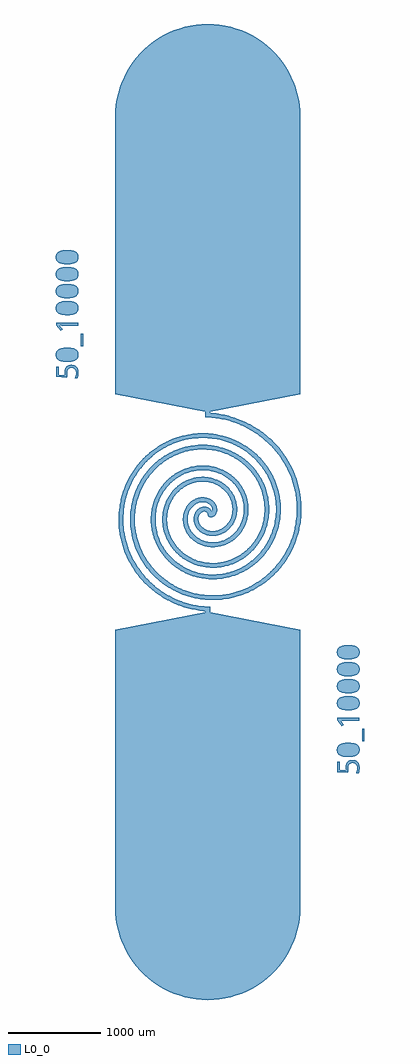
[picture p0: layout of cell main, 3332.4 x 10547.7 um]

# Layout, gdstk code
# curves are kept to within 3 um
import gdstk
lib = gdstk.Library(unit=1e-6, precision=1e-09)
def R(c, l, rs):  # rectangles x0, y0, x1, y1
    for r in rs: c.add(gdstk.rectangle(r[:2], r[2:], *l))
def P(c, l, *ps):  # polygons
    for p in ps: c.add(gdstk.Polygon(p, *l))
L0_0 = (0, 0)

main = lib.new_cell('main')
R(main, L0_0, [(2134,-6442,4134,-3438), (4801.9,-4647.7,4824.7,-4509.3), (3109,-3442,3159,-3192), (3109,-1144.3,3159,-894.3), (2134,-898.3,4134,2105.7), (1763.9,-377.8,1786.7,-239.4)])
P(main, L0_0, [(4647.8,-3729.5),(4698.9,-3726.6),(4734.4,-3714.5),(4749,-3693.4),(4749.4,-3676.8),(4744,-3662.6),(4718.1,-3645.2),(4675.7,-3638.2),(4617.5,-3639.2),(4573.1,-3651.9),(4560.5,-3664.4),(4555.9,-3679.1),(4557.8,-3697.6),(4565.8,-3710.2),(4596.4,-3724.7)],
  [(4652.7,-3607.6),(4615.1,-3609.9),(4579.9,-3618.2),(4559.4,-3628.4),(4542.1,-3644.7),(4532.3,-3665.8),(4531,-3695.7),(4538.6,-3719),(4553.9,-3736.5),(4601.1,-3755.6),(4680,-3758.5),(4729.1,-3747.8),(4763.3,-3723),(4772.2,-3705.2),(4775.1,-3679.9),(4769.9,-3654.8),(4759.1,-3638.1),(4721.4,-3615.9)],
  [(4647.8,-3913.1),(4698.9,-3910.2),(4734.4,-3898.1),(4749,-3877),(4749.4,-3860.4),(4744,-3846.2),(4718.1,-3828.8),(4675.7,-3821.8),(4617.5,-3822.8),(4573.1,-3835.5),(4560.5,-3848),(4555.9,-3862.7),(4557.8,-3881.2),(4565.8,-3893.8),(4596.4,-3908.3)],
  [(4652.7,-3791.2),(4615.1,-3793.5),(4579.9,-3801.8),(4559.4,-3812),(4542.1,-3828.3),(4532.3,-3849.4),(4531,-3879.3),(4540.3,-3905.4),(4556.6,-3922.1),(4601.1,-3939.2),(4680,-3942.1),(4729.1,-3931.4),(4763.3,-3906.6),(4772.2,-3888.9),(4775.1,-3863.5),(4769.9,-3838.4),(4759.1,-3821.7),(4721.4,-3799.5)],
  [(4647.8,-4096.7),(4705.7,-4092.6),(4736.3,-4080.3),(4749.4,-4058.3),(4744,-4029.8),(4718.1,-4012.4),(4675.7,-4005.4),(4606.4,-4007.9),(4571.1,-4020.4),(4560.5,-4031.6),(4555.9,-4046.3),(4557.8,-4064.8),(4565.8,-4077.3),(4596.4,-4091.9)],
  [(4652.7,-3974.8),(4615.1,-3977.1),(4579.9,-3985.4),(4559.4,-3995.6),(4542.1,-4011.9),(4532.3,-4033),(4531,-4062.9),(4540.3,-4089),(4556.6,-4105.7),(4601.1,-4122.8),(4680,-4125.7),(4729.1,-4115),(4763.3,-4090.1),(4772.2,-4072.4),(4775.1,-4047.1),(4769.9,-4022),(4759.1,-4005.3),(4721.4,-3983.1)],
  [(4647.8,-4280.3),(4702.4,-4276.8),(4736.3,-4263.9),(4749.4,-4241.9),(4744,-4213.4),(4720.8,-4196.9),(4675.7,-4189),(4606.4,-4191.5),(4571.1,-4204),(4560.5,-4215.2),(4555.9,-4229.9),(4557.8,-4248.4),(4565.8,-4260.9),(4593.3,-4274.7)],
  [(4652.7,-4158.4),(4583.8,-4167.6),(4559.4,-4179.2),(4542.1,-4195.5),(4532.3,-4216.6),(4531,-4246.5),(4538.6,-4269.7),(4556.6,-4289.3),(4601.1,-4306.4),(4680,-4309.3),(4729.1,-4298.6),(4751.6,-4285.8),(4765.2,-4271.1),(4773.9,-4249.3),(4774.9,-4226.7),(4769.9,-4205.6),(4756.7,-4186.4),(4721.4,-4166.7)],
  [(4772,-4394.2),(4534,-4394.2),(4534,-4418.7),(4582.7,-4481),(4602.7,-4465.4),(4564.6,-4421.6),(4772,-4422.9)],
  [(4647.8,-4784.5),(4698.9,-4781.6),(4734.4,-4769.5),(4749,-4748.4),(4749.4,-4731.8),(4744,-4717.6),(4718.1,-4700.2),(4675.7,-4693.2),(4617.5,-4694.2),(4573.1,-4706.9),(4560.5,-4719.4),(4555.9,-4734.1),(4557.8,-4752.7),(4565.8,-4765.2),(4596.4,-4779.7)],
  [(4652.7,-4662.6),(4583.8,-4671.9),(4559.4,-4683.5),(4542.1,-4699.7),(4532.3,-4720.9),(4531,-4750.7),(4538.6,-4774),(4556.6,-4793.6),(4605.7,-4811.4),(4680,-4813.5),(4732.7,-4801.3),(4763.3,-4778),(4772.2,-4760.3),(4775.1,-4734.9),(4769.9,-4709.9),(4759.1,-4693.1),(4739.6,-4678.4),(4717.3,-4669.8)],
  [(4626,-4930.1),(4629.2,-4959.5),(4561,-4953.2),(4561,-4866.6),(4534,-4866.6),(4534,-4978.9),(4646,-4987.8),(4655.2,-4973.2),(4651,-4935.6),(4657.1,-4903.7),(4674.9,-4884.7),(4701.5,-4879.6),(4732,-4889),(4747.1,-4911.2),(4748.8,-4950.7),(4734.4,-4992.9),(4762.4,-4992.9),(4767.6,-4982.2),(4775.1,-4941.6),(4770.9,-4901.4),(4754.1,-4871.1),(4729,-4854.7),(4685.7,-4849.7),(4653.5,-4862),(4632.4,-4890.1)],
  [(1605.2,540.4),(1660.9,543.3),(1696.5,555.4),(1711.1,576.5),(1711.5,593.1),(1706,607.3),(1680.2,624.7),(1637.7,631.7),(1575.8,630.2),(1535.1,618),(1523.7,607.3),(1518.2,593.1),(1519.2,574.3),(1526.4,561.3),(1558.5,545.2)],
  [(1614.7,662.3),(1545.8,653),(1521.4,641.4),(1504.2,625.2),(1493.6,600.6),(1493,574.2),(1500.6,550.9),(1515.9,533.4),(1534.7,522.5),(1563.1,514.3),(1636.8,511),(1694.8,523.6),(1725.3,546.9),(1734.3,564.6),(1737.2,590),(1731.9,615),(1718.8,634.2),(1679.3,655.1)],
  [(1609.9,356.8),(1660.9,359.7),(1696.5,371.8),(1711.1,392.9),(1711.5,409.5),(1706,423.7),(1680.2,441.1),(1637.7,448.1),(1579.6,447.1),(1535.1,434.4),(1523.7,423.7),(1517.9,407.2),(1519.2,390.7),(1527.9,376.1),(1558.5,361.6)],
  [(1614.7,478.7),(1545.8,469.4),(1521.4,457.9),(1504.2,441.6),(1493.6,417),(1493,390.6),(1500.6,367.3),(1515.9,349.8),(1563.1,330.7),(1636.8,327.4),(1694.8,340),(1725.3,363.3),(1734.3,381),(1737.2,406.4),(1731.9,431.4),(1718.8,450.6),(1683.4,470.4)],
  [(1609.9,173.2),(1660.9,176.1),(1696.5,188.2),(1711.1,209.3),(1711.5,225.9),(1706,240.1),(1680.2,257.5),(1637.7,264.5),(1579.6,263.5),(1535.1,250.8),(1523.7,240.1),(1517.9,223.6),(1519.2,207.1),(1527.9,192.5),(1558.5,178)],
  [(1614.7,295.1),(1545.8,285.8),(1521.4,274.3),(1504.2,258),(1493.6,233.4),(1493,207),(1500.6,183.7),(1515.9,166.2),(1563.1,147.1),(1636.8,143.8),(1694.8,156.4),(1725.3,179.7),(1734.3,197.4),(1737.2,222.8),(1731.9,247.9),(1718.8,267),(1683.4,286.8)],
  [(1609.9,-10.4),(1660.9,-7.5),(1696.5,4.6),(1711.1,25.7),(1711.5,42.3),(1706,56.5),(1680.2,73.9),(1637.7,80.9),(1579.6,79.9),(1535.1,67.2),(1523.7,56.5),(1517.9,40),(1519.2,23.5),(1527.9,8.9),(1558.5,-5.6)],
  [(1614.7,111.5),(1549.9,103.5),(1524.5,92.6),(1506.2,77),(1495.3,56.6),(1492.6,27.2),(1499,3.1),(1513.2,-15.2),(1531.2,-26.7),(1558.6,-35.6),(1626,-40.4),(1683.4,-31.5),(1704.9,-22),(1723.3,-6.5),(1734.3,13.9),(1737.2,39.2),(1733.2,61.1),(1721.1,81),(1683.4,103.2)],
  [(1734,-124.4),(1496,-124.4),(1496,-148.8),(1544.7,-211.1),(1564.7,-195.5),(1526.6,-151.7),(1734,-153)],
  [(1614.7,-514.7),(1667.7,-510.5),(1698.4,-498.2),(1707.2,-488.6),(1711.8,-474),(1704.7,-446),(1677.3,-429.4),(1628.9,-422.9),(1565,-426.4),(1531.2,-439.8),(1521.5,-451.4),(1517.7,-469.1),(1520.6,-484.8),(1529.5,-496.8),(1561.7,-510.5)],
  [(1614.7,-392.7),(1545.8,-402),(1521.4,-413.6),(1504.2,-429.9),(1493.6,-454.4),(1493,-480.8),(1500.6,-504.1),(1518.7,-523.7),(1563.1,-540.7),(1631.5,-544.4),(1687.3,-534.4),(1710.9,-522.3),(1725.3,-508.1),(1734.3,-490.4),(1737.2,-465),(1731.9,-440),(1718.8,-420.8),(1679.3,-399.9)],
  [(1588,-660.2),(1591.3,-689.6),(1523.1,-683.3),(1523.1,-596.7),(1496,-596.7),(1496,-709),(1608,-717.9),(1617.3,-703.3),(1613.2,-660.4),(1619.1,-633.8),(1633.8,-616.7),(1660.9,-609.7),(1692.5,-618),(1709.1,-641.3),(1711.1,-679.2),(1696.4,-723),(1724.4,-723),(1730.6,-709.6),(1737.2,-670),(1731.9,-628.3),(1716.1,-601.2),(1691,-584.8),(1647.8,-579.8),(1615.6,-592.1),(1594.5,-620.2)],
  [(3134,-3242),(3136.7,-3192.1),(3012.2,-3177.6),(2931.1,-3159.3),(2852.3,-3134.5),(2721.1,-3075.8),(2601,-2999.1),(2508.7,-2920.6),(2427.6,-2831.7),(2348.6,-2717.1),(2295.4,-2611.3),(2251,-2481.7),(2228.7,-2367.3),(2221.1,-2232.7),(2233.2,-2099.7),(2258.9,-1989.1),(2305.7,-1866.3),(2369.5,-1752.8),(2448.5,-1650.9),(2526.8,-1574.1),(2598.5,-1518.6),(2690.9,-1462.7),(2788.9,-1419.3),(2890.7,-1388.9),(2994.7,-1371.6),(3099.1,-1367.6),(3202.3,-1376.7),(3302.7,-1398.6),(3398.7,-1432.6),(3503.3,-1486.7),(3584.9,-1544.3),(3658,-1611.2),(3731.2,-1699.3),(3790,-1796.1),(3828.2,-1884.3),(3854.7,-1975.8),(3867.8,-2053.5),(3872.6,-2131.4),(3865.5,-2239.5),(3850.9,-2314.8),(3823.3,-2401.7),(3785.3,-2483.6),(3737.8,-2559.4),(3681.6,-2627.8),(3617.9,-2688),(3547.8,-2739.2),(3459.7,-2786.7),(3380.1,-2816.3),(3298.4,-2835.5),(3215.7,-2844.1),(3133.4,-2842.2),(3066.2,-2832.8),(3000.9,-2816.5),(2926.2,-2788.3),(2856.3,-2751.3),(2792.5,-2706.2),(2735.4,-2654.1),(2686,-2595.8),(2651.1,-2543.4),(2617.1,-2476.7),(2595.7,-2418.9),(2580.6,-2359.8),(2570.3,-2276),(2572.4,-2192.8),(2583.8,-2123.3),(2603.7,-2056.7),(2631.5,-1993.9),(2666.5,-1935.9),(2700.7,-1891.8),(2739,-1852),(2789.5,-1810.4),(2882.3,-1757.3),(2931.6,-1738.7),(3002.3,-1721.9),(3053.2,-1716.5),(3113.8,-1717.1),(3172.9,-1725.3),(3238.9,-1743.9),(3291.9,-1767.1),(3340.7,-1796.4),(3384.7,-1831.1),(3423.4,-1870.6),(3478.8,-1952.3),(3510.5,-2033.6),(3524,-2117.3),(3523.4,-2167.1),(3516.6,-2215.6),(3504,-2261.9),(3485.9,-2305.4),(3440.1,-2376),(3375.5,-2436.1),(3300.8,-2476.3),(3241.6,-2492.6),(3169.4,-2496.5),(3107.1,-2485.7),(3045.6,-2459.9),(2994.3,-2422.1),(2955.1,-2375.6),(2927.7,-2318.9),(2916.8,-2265.3),(2918.1,-2218.1),(2926.2,-2183),(2941.6,-2147.6),(2965.2,-2114.5),(2993.7,-2089),(3024.9,-2071.6),(3060.1,-2061.7),(3096.5,-2061.1),(3142,-2076.3),(3171.6,-2103.2),(3181.8,-2123.1),(3185.3,-2142.9),(3181.4,-2162.4),(3170.3,-2174.4),(3179.7,-2180.2),(3184,-2191.3),(3178.6,-2164.5),(3165.4,-2142.4),(3140.6,-2122.4),(3113.7,-2113.3),(3081.9,-2113.2),(3057.1,-2120.5),(3031.6,-2135.9),(3010.2,-2157.9),(2986.4,-2209.9),(2982.8,-2240.1),(2985.3,-2271.6),(3005.4,-2326.1),(3044.8,-2374.1),(3083.5,-2400.8),(3124.4,-2417.3),(3169.7,-2425.5),(3222.8,-2423.5),(3271.1,-2411.1),(3317.6,-2388.5),(3360.2,-2356),(3393,-2319.4),(3425.2,-2264.6),(3446.8,-2195.3),(3451.4,-2120),(3439.5,-2049.9),(3408.3,-1975.3),(3363.9,-1913.5),(3305.5,-1861.1),(3242.7,-1824.6),(3155.8,-1796.6),(3096.5,-1789.6),(3053.1,-1790),(2957.3,-1807.7),(2865.6,-1848.5),(2819.3,-1880.1),(2783.6,-1911.2),(2722,-1985.4),(2697,-2027.7),(2672.8,-2082.4),(2648.2,-2180.9),(2643.5,-2242.8),(2648.2,-2316.2),(2661,-2379),(2677.9,-2430.2),(2705.6,-2489.7),(2741.1,-2545.9),(2784,-2597.8),(2825,-2637.1),(2870.5,-2672.2),(2930.2,-2708),(2994.9,-2736.4),(3051.7,-2753.7),(3110.7,-2765.1),(3183.4,-2770.5),(3244.7,-2767.8),(3306.1,-2758.7),(3378.6,-2738.9),(3460.4,-2704.1),(3526.4,-2664.4),(3577.9,-2624.8),(3634.2,-2569.8),(3675.9,-2518.3),(3718.9,-2450.5),(3753.3,-2376.9),(3774.9,-2312.1),(3791.7,-2231.1),(3798.3,-2147.7),(3794.2,-2063.2),(3779.3,-1979.1),(3758.6,-1910.3),(3724.1,-1830.4),(3687.5,-1767.1),(3634.5,-1696),(3572.4,-1631.5),(3502,-1574.9),(3424.3,-1527.1),(3340.3,-1489.2),(3251.4,-1462),(3158.9,-1446),(3080.1,-1441.7),(3000.7,-1445.8),(2905.8,-1461.7),(2812.8,-1489.8),(2723.4,-1529.8),(2638.9,-1581.1),(2573.4,-1632.2),(2513.2,-1690.3),(2449.1,-1768.5),(2394.8,-1855),(2351.5,-1948.4),(2316,-2064.2),(2301.2,-2150.3),(2295.4,-2255.7),(2300.9,-2344.2),(2319.7,-2449.7),(2352,-2552.8),(2397.4,-2651.8),(2455.4,-2745.1),(2512.8,-2817.3),(2591.8,-2895.9),(2680.7,-2964.4),(2761.5,-3012.9),(2865.3,-3059.9),(2956.4,-3089),(3050.6,-3108.4),(3166.4,-3118.7),(3283.5,-3114.2),(3399.9,-3094.9),(3513.8,-3060.8),(3605.4,-3021.3),(3692.9,-2972.2),(3775.3,-2913.7),(3865.9,-2832.2),(3933.5,-2755.4),(3993.1,-2671.4),(4043.8,-2581.2),(4085,-2485.5),(4121.1,-2365),(4139.5,-2261.1),(4147,-2134),(4141,-2027.3),(4128.1,-1942.4),(4101.9,-1837.7),(4072.9,-1755.9),(4027,-1657),(3982.7,-1581.3),(3932,-1509.3),(3860.1,-1425.3),(3796.1,-1363.5),(3708.7,-1293.9),(3614.1,-1233.4),(3533.7,-1192.2),(3449.8,-1157.8),(3340.8,-1124.7),(3228.3,-1103.1),(3136.7,-1094.4),(3134,-1144.3),(3286.2,-1163.7),(3432.8,-1204.8),(3570.6,-1266.5),(3696.9,-1347.1),(3794,-1429.7),(3879.4,-1523.3),(3951.8,-1626.1),(4010.3,-1736.4),(4054.1,-1852.4),(4086.1,-1992.3),(4096.8,-2113.9),(4093.9,-2215),(4087.2,-2275),(4057,-2411.6),(4015.8,-2523.2),(3950.9,-2644.7),(3882.1,-2739.5),(3802.5,-2824.2),(3713.6,-2897.7),(3616.9,-2958.9),(3514.1,-3007.2),(3388.6,-3046.2),(3296.9,-3062.4),(3186.1,-3069),(3076.3,-3061.6),(2969.1,-3040.6),(2849.6,-2999.7),(2753.8,-2951.4),(2665.6,-2891.8),(2586.2,-2822.3),(2506.3,-2730.1),(2441.5,-2628.2),(2398.7,-2534.9),(2368.3,-2437.8),(2350.5,-2338.5),(2345.4,-2255.3),(2350.9,-2156.2),(2368.6,-2059.4),(2398.1,-1966.5),(2438.7,-1878.8),(2489.6,-1797.7),(2549.8,-1724.4),(2618.1,-1659.8),(2693.3,-1604.9),(2774,-1560.4),(2844.6,-1531.5),(2931.9,-1507.1),(3020.7,-1494.1),(3124.2,-1493.2),(3197,-1501.8),(3295.5,-1526.4),(3349.3,-1546.7),(3425.7,-1585.2),(3495.9,-1632.4),(3548.9,-1677.9),(3605.2,-1738.9),(3652.9,-1805.8),(3691.3,-1877.4),(3715.9,-1939.8),(3736.4,-2016.8),(3746.9,-2094.9),(3746.5,-2185.7),(3738.1,-2249.3),(3715.4,-2335.1),(3686.5,-2404.4),(3649.5,-2468.8),(3613,-2517.9),(3571.9,-2562.5),(3517.4,-2609.3),(3458,-2648.5),(3405.8,-2674.8),(3340.5,-2698.6),(3273.7,-2713.7),(3217.5,-2719.7),(3150.5,-2719.1),(3085.1,-2710),(3022.2,-2693),(2962.7,-2668.4),(2907.6,-2636.9),(2857.7,-2599.2),(2813.5,-2556.1),(2781.6,-2516.6),(2749.5,-2465.8),(2711.9,-2375.2),(2700.7,-2328.3),(2694.1,-2271.6),(2700.6,-2169.7),(2729.8,-2074.8),(2778.7,-1991.9),(2812.4,-1953.1),(2850.1,-1919.5),(2884,-1895.7),(2934.5,-1869.3),(3010.2,-1845.9),(3094.3,-1839.5),(3167.6,-1850.6),(3234.6,-1876.2),(3297.9,-1918.7),(3343.5,-1967.3),(3378.9,-2028.4),(3399,-2099.2),(3401.2,-2157.9),(3392.6,-2208.1),(3375,-2253.8),(3346.6,-2297.5),(3311.1,-2332.2),(3270.8,-2357.1),(3228.2,-2371.6),(3177.6,-2375.9),(3123.8,-2364.4),(3072.7,-2331.9),(3042,-2287.6),(3034.5,-2262.7),(3033.2,-2233.3),(3039.4,-2207.3),(3051.4,-2186.4),(3070.5,-2169.6),(3089.9,-2162.6),(3108.1,-2163.1),(3124.5,-2171.8),(3132,-2182.8),(3138.7,-2208.8),(3155.9,-2222),(3184.6,-2222.3),(3209.7,-2207.5),(3228.6,-2179),(3235.3,-2142.6),(3228.2,-2104.3),(3206.5,-2066.6),(3179.4,-2041.1),(3147.7,-2023.4),(3110.5,-2012.7),(3073.8,-2010.3),(3035.5,-2015.7),(2997.2,-2029.2),(2960.8,-2051.1),(2931.4,-2077.4),(2895.4,-2127.8),(2875.4,-2178.2),(2866.1,-2245.8),(2872.2,-2305),(2894.4,-2369.5),(2924.5,-2419),(2965.1,-2463.1),(3014.9,-2499.9),(3086.4,-2531.7),(3173.7,-2546.8),(3257.8,-2540.4),(3303.6,-2528.4),(3348.2,-2510.3),(3424.4,-2461.6),(3484,-2401.2),(3530.7,-2327.6),(3563.7,-2234.6),(3572.5,-2180.1),(3574.3,-2124.1),(3568.9,-2067.5),(3556.1,-2011.1),(3536,-1956.1),(3508.6,-1903.2),(3480.4,-1861.6),(3440.5,-1815.3),(3402.4,-1780.4),(3351.6,-1743.7),(3295.7,-1713.3),(3245.9,-1693.3),(3139.5,-1669.3),(3072.9,-1665.8),(3016.8,-1669.4),(2949.6,-1681.7),(2883.7,-1702.6),(2820.2,-1732.1),(2760.2,-1769.9),(2704.8,-1815.5),(2655,-1868.4),(2611.8,-1927.9),(2576.1,-1993.1),(2544.8,-2075.3),(2529.9,-2137.1),(2521.5,-2200.6),(2520.4,-2278.4),(2531.6,-2369.5),(2548,-2433.8),(2571.2,-2496.6),(2601.3,-2557.1),(2645.9,-2625.7),(2699.4,-2688.8),(2761.1,-2745.2),(2830.2,-2793.9),(2918.7,-2839.6),(2986.3,-2864.3),(3071,-2884.5),(3158.5,-2893.9),(3247.4,-2892.2),(3336.1,-2879.2),(3423.4,-2854.8),(3494,-2825.9),(3561.6,-2789.6),(3637.8,-2736.3),(3696.3,-2684.5),(3759.3,-2613.9),(3821.5,-2521.5),(3863.9,-2434.8),(3890.9,-2358.4),(3912.6,-2262.7),(3921.4,-2180.8),(3920.6,-2081.1),(3907,-1981.4),(3880.8,-1883.4),(3842.1,-1788.7),(3791.4,-1698.8),(3729.2,-1615.4),(3669.2,-1551.8),(3588.3,-1483.8),(3514.2,-1435),(3418.4,-1386.6),(3333.8,-1355.6),(3227.9,-1330.2),(3137.1,-1319.3),(3026.5,-1318.9),(2916,-1332.5),(2807.2,-1360.1),(2719.1,-1393.7),(2634.5,-1436.7),(2539,-1500),(2451.5,-1575.5),(2385.9,-1646.8),(2317.1,-1741.6),(2269,-1827.3),(2229.9,-1918.1),(2195.6,-2032.6),(2180.8,-2111.3),(2171.1,-2231.9),(2173.1,-2313),(2185.2,-2414.2),(2202.6,-2494.3),(2233.9,-2592.5),(2275.6,-2687.4),(2327.3,-2777.9),(2388.6,-2863.1),(2444.2,-2926.5),(2505.1,-2985.4),(2588.3,-3051.8),(2678.6,-3109.4),(2755.2,-3148.7),(2855.7,-3188.7),(2939.2,-3213.1),(3046.5,-3233.7)],
  [(2134,-3442),(4134,-3442),(3134,-3246.9),(3159,-3242),(3109,-3242),(3134,-3246.9)],
  [(2134,-894.3),(3134,-1089.4),(3109,-1094.3),(3159,-1094.3),(3134,-1089.4),(4134,-894.3)],
  [(4134,-6442),(4126.1,-6316.7),(4116.3,-6254.6),(4085.1,-6133),(4063.8,-6073.9),(4038.8,-6016.2),(3978.3,-5906.2),(3943,-5854.2),(3863,-5757.5),(3818.5,-5713),(3721.8,-5633),(3615.8,-5565.7),(3502.1,-5512.2),(3443,-5490.9),(3321.4,-5459.7),(3259.3,-5449.9),(3134,-5442),(3008.7,-5449.9),(2946.6,-5459.7),(2825,-5490.9),(2765.9,-5512.2),(2708.2,-5537.2),(2598.2,-5597.7),(2546.2,-5633),(2449.5,-5713),(2405,-5757.5),(2325,-5854.2),(2257.7,-5960.3),(2204.2,-6073.9),(2182.9,-6133),(2151.7,-6254.6),(2141.9,-6316.7),(2134,-6442),(2141.9,-6567.3),(2151.7,-6629.4),(2182.9,-6751),(2204.2,-6810.1),(2229.2,-6867.8),(2289.7,-6977.8),(2325,-7029.8),(2405,-7126.5),(2449.5,-7171),(2546.2,-7251),(2652.3,-7318.3),(2765.9,-7371.8),(2885.3,-7410.6),(2946.6,-7424.3),(3008.7,-7434.1),(3134,-7442),(3259.3,-7434.1),(3321.4,-7424.3),(3382.7,-7410.6),(3502.1,-7371.8),(3615.8,-7318.3),(3669.8,-7286.3),(3721.8,-7251),(3818.5,-7171),(3863,-7126.5),(3943,-7029.8),(4010.3,-6923.7),(4063.8,-6810.1),(4085.1,-6751),(4116.3,-6629.4),(4126.1,-6567.3)],
  [(4134,-6442),(4126.1,-6316.7),(4116.3,-6254.6),(4085.1,-6133),(4063.8,-6073.9),(4038.8,-6016.2),(3978.3,-5906.2),(3943,-5854.2),(3863,-5757.5),(3818.5,-5713),(3721.8,-5633),(3615.8,-5565.7),(3502.1,-5512.2),(3443,-5490.9),(3321.4,-5459.7),(3259.3,-5449.9),(3134,-5442),(3008.7,-5449.9),(2946.6,-5459.7),(2825,-5490.9),(2765.9,-5512.2),(2708.2,-5537.2),(2598.2,-5597.7),(2546.2,-5633),(2449.5,-5713),(2405,-5757.5),(2325,-5854.2),(2257.7,-5960.3),(2204.2,-6073.9),(2182.9,-6133),(2151.7,-6254.6),(2141.9,-6316.7),(2134,-6442),(2141.9,-6567.3),(2151.7,-6629.4),(2182.9,-6751),(2204.2,-6810.1),(2229.2,-6867.8),(2289.7,-6977.8),(2325,-7029.8),(2405,-7126.5),(2449.5,-7171),(2546.2,-7251),(2652.3,-7318.3),(2765.9,-7371.8),(2885.3,-7410.6),(2946.6,-7424.3),(3008.7,-7434.1),(3134,-7442),(3259.3,-7434.1),(3321.4,-7424.3),(3382.7,-7410.6),(3502.1,-7371.8),(3615.8,-7318.3),(3669.8,-7286.3),(3721.8,-7251),(3818.5,-7171),(3863,-7126.5),(3943,-7029.8),(4010.3,-6923.7),(4063.8,-6810.1),(4085.1,-6751),(4116.3,-6629.4),(4126.1,-6567.3)],
  [(4134,2105.7),(4126.1,2231),(4116.3,2293.1),(4085.1,2414.7),(4063.8,2473.8),(4038.8,2531.5),(3978.3,2641.5),(3943,2693.5),(3863,2790.2),(3818.5,2834.7),(3721.8,2914.7),(3615.8,2982),(3502.1,3035.5),(3382.7,3074.3),(3321.4,3088),(3259.3,3097.8),(3134,3105.7),(3008.7,3097.8),(2946.6,3088),(2885.3,3074.3),(2765.9,3035.5),(2708.2,3010.5),(2598.2,2950),(2546.2,2914.7),(2449.5,2834.7),(2405,2790.2),(2325,2693.5),(2257.7,2587.4),(2204.2,2473.8),(2182.9,2414.7),(2151.7,2293.1),(2141.9,2231),(2134,2105.7),(2141.9,1980.3),(2151.7,1918.3),(2182.9,1796.7),(2204.2,1737.6),(2257.7,1623.9),(2289.7,1569.9),(2325,1517.9),(2405,1421.1),(2496.6,1335.2),(2546.2,1296.7),(2652.3,1229.4),(2765.9,1175.9),(2825,1154.6),(2946.6,1123.4),(3008.7,1113.6),(3134,1105.7),(3259.3,1113.6),(3321.4,1123.4),(3443,1154.6),(3502.1,1175.9),(3615.8,1229.4),(3721.8,1296.7),(3771.4,1335.2),(3863,1421.1),(3943,1517.9),(3978.3,1569.9),(4010.3,1623.9),(4063.8,1737.6),(4085.1,1796.7),(4116.3,1918.3),(4126.1,1980.3)],
  [(4134,2105.7),(4126.1,2231),(4116.3,2293.1),(4085.1,2414.7),(4063.8,2473.8),(4038.8,2531.5),(3978.3,2641.5),(3943,2693.5),(3863,2790.2),(3818.5,2834.7),(3721.8,2914.7),(3615.8,2982),(3502.1,3035.5),(3382.7,3074.3),(3321.4,3088),(3259.3,3097.8),(3134,3105.7),(3008.7,3097.8),(2946.6,3088),(2885.3,3074.3),(2765.9,3035.5),(2708.2,3010.5),(2598.2,2950),(2546.2,2914.7),(2449.5,2834.7),(2405,2790.2),(2325,2693.5),(2257.7,2587.4),(2204.2,2473.8),(2182.9,2414.7),(2151.7,2293.1),(2141.9,2231),(2134,2105.7),(2141.9,1980.3),(2151.7,1918.3),(2182.9,1796.7),(2204.2,1737.6),(2257.7,1623.9),(2289.7,1569.9),(2325,1517.9),(2405,1421.1),(2496.6,1335.2),(2546.2,1296.7),(2652.3,1229.4),(2765.9,1175.9),(2825,1154.6),(2946.6,1123.4),(3008.7,1113.6),(3134,1105.7),(3259.3,1113.6),(3321.4,1123.4),(3443,1154.6),(3502.1,1175.9),(3615.8,1229.4),(3721.8,1296.7),(3771.4,1335.2),(3863,1421.1),(3943,1517.9),(3978.3,1569.9),(4010.3,1623.9),(4063.8,1737.6),(4085.1,1796.7),(4116.3,1918.3),(4126.1,1980.3)])

lib.write_gds('main.gds')
